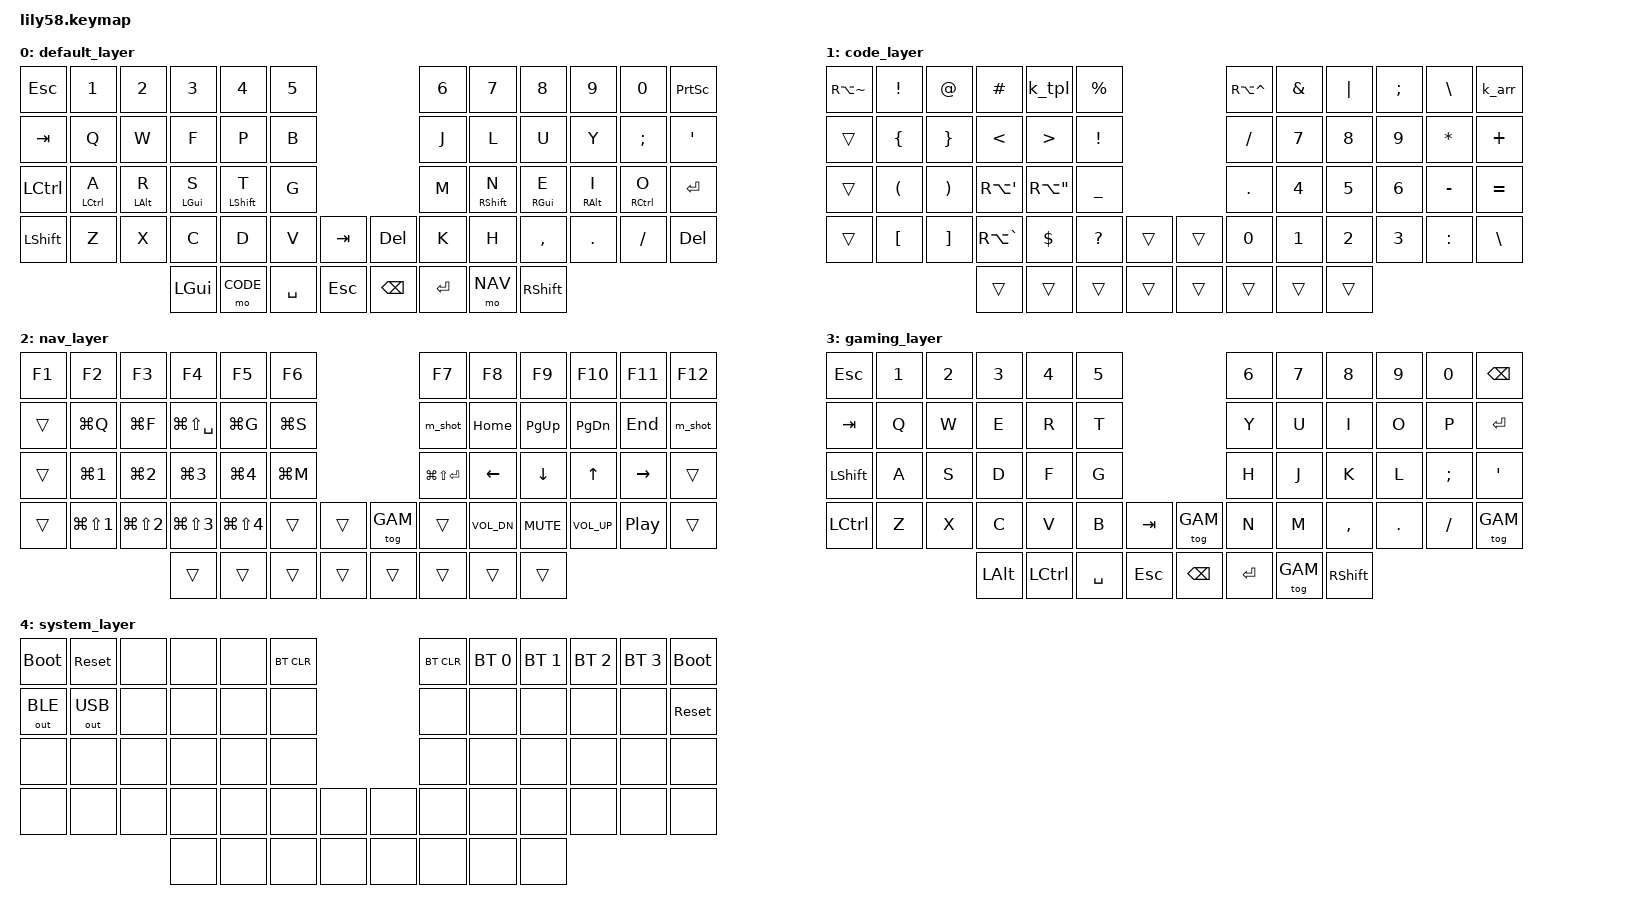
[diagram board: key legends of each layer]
/*
 * ZMK Scylla Ultimate V23 - Cognitive Flow, Undead Code Layer & Gaming Precision
 * - Workspaces: 1 (DEV), 2 (LAB), 3 (COM), 4 (GAM)
 * - Navigation: Vim HJKL + Setas alinhadas + Print de Área (m_shot) + Swap Master
 * - Code Layer: Símbolos literais sem Dead Key (RA), ?, !, _ nos indicadores e Numpad 3x3
 * - Combos PT-BR (exclusivos da DEF com require-prior-idle-ms): C+D = ç/Ç | R+S = ~ | S+T = ´ | X+C = ^
 * - Combos CLI: W+F = & | F+P = |
 * - Gaming Layer: QWERTY alinhado com T/G/B na mão esquerda e LALT no polegar (sem LGUI acidental)
 */

#include <behaviors.dtsi>
#include <dt-bindings/zmk/keys.h>
#include <dt-bindings/zmk/bt.h>
#include <dt-bindings/zmk/outputs.h>

#define DEF 0
#define CODE 1
#define NAV 2
#define GAM 3
#define SYS 4

/ {
    macros {
        k_arr: kotlin-arrow {
            label = "KOTLIN_ARROW";
            compatible = "zmk,behavior-macro";
            #binding-cells = <0>;
            bindings = <&kp SPACE &kp MINUS &kp GT &kp SPACE>;
        };

        k_tpl: kotlin-template {
            label = "KOTLIN_TEMPLATE";
            compatible = "zmk,behavior-macro";
            #binding-cells = <0>;
            bindings = <&kp DLLR &kp LBRC &kp RBRC &kp LEFT>;
        };

        m_shot: screenshot {
            label = "SCREENSHOT";
            compatible = "zmk,behavior-macro";
            #binding-cells = <0>;
            bindings = <&kp LG(LS(P))>;
        };
    };

    behaviors {
        /* Home Row: Tap-Preferred com proteção anti-roll (require-prior-idle-ms + quick-tap-ms) */
        hm: homerow-mods {
            compatible = "zmk,behavior-hold-tap";
            label = "HOMEROW_MODS";
            #binding-cells = <2>;
            tapping-term-ms = <200>;
            quick-tap-ms = <175>;
            require-prior-idle-ms = <150>;
            flavor = "tap-preferred";
            bindings = <&kp>, <&kp>;
        };

        /* Thumbs: Balanced com quick-tap para repetição imediata */
        tm: thumb-mod {
            compatible = "zmk,behavior-hold-tap";
            label = "THUMB_MOD";
            #binding-cells = <2>;
            tapping-term-ms = <200>;
            quick-tap-ms = <175>;
            flavor = "balanced";
            bindings = <&kp>, <&kp>;
        };

        tl: thumb-layer {
            compatible = "zmk,behavior-hold-tap";
            label = "THUMB_LAYER";
            #binding-cells = <2>;
            tapping-term-ms = <200>;
            quick-tap-ms = <175>;
            flavor = "balanced";
            bindings = <&mo>, <&kp>;
        };

        sk: sticky_key {
            compatible = "zmk,behavior-sticky-key";
            label = "STICKY_KEY";
            #binding-cells = <1>;
            release-after-ms = <2000>;
            quick-release;
            bindings = <&kp>;
        };

        sl: sticky_layer {
            compatible = "zmk,behavior-sticky-key";
            label = "STICKY_LAYER";
            #binding-cells = <1>;
            release-after-ms = <2000>;
            bindings = <&mo>;
        };
    };

    combos {
        compatible = "zmk,combos";

        /* PT-BR: C + D = ç / Ç (Mão esquerda, médio + indicador inferiores) */
        combo_cedilla {
            timeout-ms = <45>;
            require-prior-idle-ms = <100>;
            key-positions = <39 40>;
            bindings = <&kp RA(COMMA)>;
            layers = <DEF>;
        };

        /* PT-BR: R + S = ~ dead key para ã/õ (Mão esquerda, anelar + médio Home Row) */
        combo_tilde {
            timeout-ms = <30>;
            require-prior-idle-ms = <125>;
            key-positions = <26 27>;
            bindings = <&kp TILDE>;
            layers = <DEF>;
        };

        /* PT-BR: S + T = ´ dead key para á/é/í/ó/ú (Mão esquerda, médio + indicador Home Row) */
        combo_acute {
            timeout-ms = <30>;
            require-prior-idle-ms = <125>;
            key-positions = <27 28>;
            bindings = <&kp SQT>;
            layers = <DEF>;
        };

        /* PT-BR: X + C = ^ dead key para â/ê/ô (Mão esquerda, anelar + médio inferiores) */
        combo_caret {
            timeout-ms = <40>;
            require-prior-idle-ms = <125>;
            key-positions = <38 39>;
            bindings = <&kp CARET>;
            layers = <DEF>;
        };

        /* CLI: W + F = & (Mão esquerda, anelar + médio Linha 1) */
        combo_amps {
            timeout-ms = <45>;
            require-prior-idle-ms = <100>;
            key-positions = <14 15>;
            bindings = <&kp AMPS>;
            layers = <DEF CODE>;
        };

        /* CLI: F + P = | (Mão esquerda, médio + indicador Linha 1) */
        combo_pipe {
            timeout-ms = <45>;
            require-prior-idle-ms = <100>;
            key-positions = <15 16>;
            bindings = <&kp PIPE>;
            layers = <DEF CODE>;
        };

        /* Sistema: Q + A = Camada SYS (Mão esquerda, anelar Linha 1 + Home Row) */
        combo_sys {
            timeout-ms = <60>;
            key-positions = <13 25>;
            bindings = <&mo SYS>;
        };

        /* Atalho de seleção global: J + L = Ctrl + A */
        combo_select_all {
            timeout-ms = <40>;
            require-prior-idle-ms = <125>;
            key-positions = <18 19>;
            bindings = <&kp LC(A)>;
            layers = <DEF>;
        };
    };

    conditional_layers {
        compatible = "zmk,conditional-layers";
        tri_layer {
            if-layers = <CODE NAV>;
            then-layer = <SYS>;
        };
    };

    keymap {
        compatible = "zmk,keymap";

        /* ------------------------------------------------------------------------------------------------------------
         * 0. DEFAULT LAYER (DEF) — Colemak-DH + Home Row Mods
         * ------------------------------------------------------------------------------------------------------------ */
        default_layer {
            bindings = <
&kp ESC   &kp N1       &kp N2       &kp N3       &kp N4       &kp N5                             &kp N6       &kp N7       &kp N8       &kp N9       &kp N0       &kp PSCRN
&kp TAB   &kp Q        &kp W        &kp F        &kp P        &kp B                              &kp J        &kp L        &kp U        &kp Y        &kp SEMI     &kp SQT
&kp LCTRL &hm LCTRL A  &hm LALT R   &hm LGUI S   &hm LSHFT T  &kp G                              &kp M        &hm RSHFT N  &hm RGUI E   &hm RALT I   &hm RCTRL O  &kp RET
&kp LSHFT &kp Z        &kp X        &kp C        &kp D        &kp V        &kp TAB    &kp DEL    &kp K        &kp H        &kp COMMA    &kp DOT      &kp FSLH     &kp DEL
                                    &kp LGUI     &mo CODE     &kp SPACE    &kp ESC    &kp BSPC   &kp RET      &mo NAV      &kp RSHFT
            >;
        };

        /* ------------------------------------------------------------------------------------------------------------
         * 1. CODE LAYER (CODE) — Símbolos Literais (Sem Dead Key), Delimitadores e Teclado Numérico 3x3
         * ------------------------------------------------------------------------------------------------------------ */
        code_layer {
            bindings = <
&kp RA(TILDE) &kp EXCL   &kp AT       &kp HASH      &k_tpl       &kp PRCNT                          &kp RA(CARET) &kp AMPS   &kp PIPE     &kp SEMI     &kp BSLH     &k_arr
&trans        &kp LBRC   &kp RBRC     &kp LT        &kp GT       &kp EXCL                           &kp FSLH      &kp N7     &kp N8       &kp N9       &kp STAR     &kp PLUS
&trans        &kp LPAR   &kp RPAR     &kp RA(SQT)   &kp RA(DQT)  &kp UNDER                          &kp DOT       &kp N4     &kp N5       &kp N6       &kp MINUS    &kp EQUAL
&trans        &kp LBKT   &kp RBKT     &kp RA(GRAVE) &kp DLLR     &kp QMARK    &trans   &trans       &kp N0        &kp N1     &kp N2       &kp N3       &kp COLON    &kp BSLH
                                      &trans        &trans       &trans       &trans   &trans       &trans        &trans     &trans
            >;
        };

        /* ------------------------------------------------------------------------------------------------------------
         * 2. NAVIGATION LAYER (NAV) — Vim HJKL + Hyprland Workspaces (1, 2, 3, 4) + Print de Área
         * ------------------------------------------------------------------------------------------------------------ */
        nav_layer {
            bindings = <
&kp F1    &kp F2       &kp F3       &kp F4            &kp F5       &kp F6                             &kp F7          &kp F8       &kp F9       &kp F10      &kp F11      &kp F12
&trans    &kp LG(Q)    &kp LG(F)    &kp LG(LS(SPACE)) &kp LG(G)    &kp LG(S)                          &m_shot         &kp HOME     &kp PG_UP    &kp PG_DN    &kp END      &m_shot
&trans    &kp LG(N1)   &kp LG(N2)   &kp LG(N3)        &kp LG(N4)   &kp LG(M)                          &kp LG(LS(RET)) &kp LEFT     &kp DOWN     &kp UP       &kp RIGHT    &trans
&trans    &kp LG(LS(N1)) &kp LG(LS(N2)) &kp LG(LS(N3)) &kp LG(LS(N4)) &trans  &trans   &tog GAM       &trans          &kp C_VOL_DN &kp C_MUTE   &kp C_VOL_UP &kp C_PP     &trans
                                    &trans            &trans       &trans     &trans   &trans         &trans          &trans       &trans
            >;
        };

        /* ------------------------------------------------------------------------------------------------------------
         * 3. GAMING LAYER (GAM) — QWERTY Puro Alinhado (T/G/B na Mão Esquerda + LALT no Polegar)
         * ------------------------------------------------------------------------------------------------------------ */
        gaming_layer {
            bindings = <
&kp ESC   &kp N1       &kp N2       &kp N3       &kp N4       &kp N5                             &kp N6       &kp N7       &kp N8       &kp N9       &kp N0       &kp BSPC
&kp TAB   &kp Q        &kp W        &kp E        &kp R        &kp T                              &kp Y        &kp U        &kp I        &kp O        &kp P        &kp RET
&kp LSHFT &kp A        &kp S        &kp D        &kp F        &kp G                              &kp H        &kp J        &kp K        &kp L        &kp SEMI     &kp SQT
&kp LCTRL &kp Z        &kp X        &kp C        &kp V        &kp B        &kp TAB   &tog GAM    &kp N        &kp M        &kp COMMA    &kp DOT      &kp FSLH     &tog GAM
                                    &kp LALT     &kp LCTRL    &kp SPACE    &kp ESC   &kp BSPC    &kp RET      &tog GAM     &kp RSHFT
            >;
        };

        /* ------------------------------------------------------------------------------------------------------------
         * 4. SYSTEM LAYER (SYS) — Bluetooth, USB Output & Bootloader
         * ------------------------------------------------------------------------------------------------------------ */
        system_layer {
            bindings = <
&bootloader  &sys_reset   &none        &none        &none        &bt BT_CLR                         &bt BT_CLR   &bt BT_SEL 0 &bt BT_SEL 1 &bt BT_SEL 2 &bt BT_SEL 3 &bootloader
&out OUT_BLE &out OUT_USB &none        &none        &none        &none                              &none        &none        &none        &none        &none        &sys_reset
&none        &none        &none        &none        &none        &none                              &none        &none        &none        &none        &none        &none
&none        &none        &none        &none        &none        &none        &none     &none       &none        &none        &none        &none        &none        &none
                                       &none        &none        &none        &none     &none       &none        &none        &none
            >;
        };
    };
};
/* EOF */
